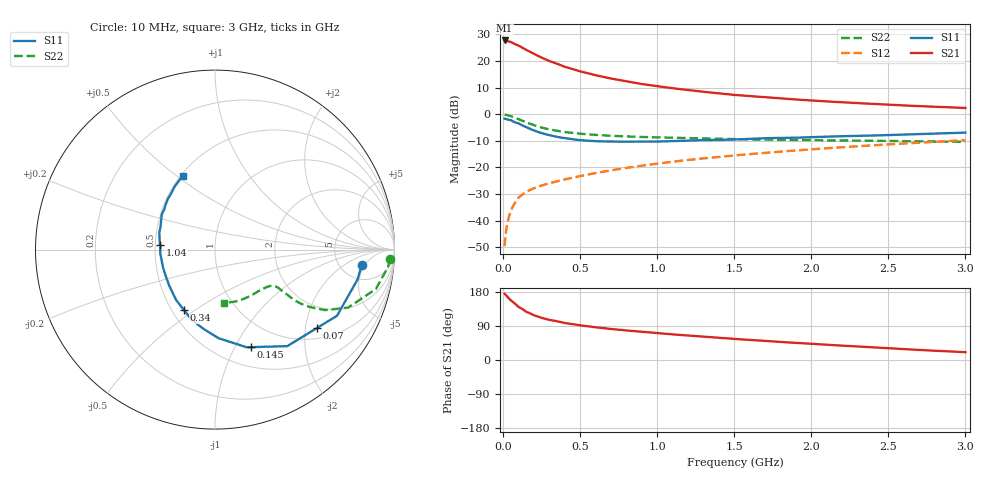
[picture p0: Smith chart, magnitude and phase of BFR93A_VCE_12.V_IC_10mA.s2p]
! Infineon Technologies  Discrete & RF Semiconductors
! BFR93A
! VCE =  12. V,  IC =  10 mA
! Common Emitter S-Parameters:  Nov 2015
# GHz  S  MA  R  50
!  f  S11  S21  S12  S22
! GHz  MAG  ANG  MAG  ANG  MAG  ANG  MAG  ANG
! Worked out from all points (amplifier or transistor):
!   180 points, 10 MHz to 3 GHz, reference 50 ohm
!   highest |S21| = 27.7 dB at 10 MHz (marker M1)
!   |S21| within 3 dB of that: start of sweep to 133.4 MHz
!   unconditionally stable (mu >= 1): 613.3 MHz to 2.645 GHz
!   at 160 MHz: K = 0.48, MSG = 26.4 dB, |S12| = -28.9 dB
!   at 1.22 GHz: K = 1.09, MAG = 11.2 dB, |S12| = -17.1 dB
!   at 3 GHz: K = 0.96, MSG = 6.1 dB, |S12| = -9.8 dB
!   S11 on the Smith chart (normalised r, x): 10 MHz: 8.02, -4.17; 70 MHz: 1.29, -2.32; 145 MHz: 0.71, -1.16; 340 MHz: 0.58, -0.46; 1.04 GHz: 0.53, +0.03; 3 GHz: 0.51, +0.53
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0.01  0.8217 -5.9  24.25 174.7  0.0033 81.4  0.9764 -3.0
0.02  0.8121 -11.7  24.01 170.3  0.0065 80.4  0.9685 -5.8
0.05  0.7733 -28.5  22.71 157.5  0.0153 75.0  0.9227 -13.8
0.07  0.717 -37.5  21.2 151.3  0.0199 70.1  0.8744 -17.4
0.1  0.6718 -53.2  19.48 140.3  0.0269 66.0  0.8093 -23.5
0.145  0.579 -69.9  16.46 128.8  0.0338 61.1  0.7107 -28.2
0.15  0.5722 -72.0  16.18 127.3  0.0346 60.7  0.7001 -28.8
0.2  0.4941 -87.7  13.56 118.1  0.0405 58.5  0.6176 -31.2
0.24  0.4491 -97.5  11.91 112.6  0.0445 57.7  0.5699 -32.1
0.26  0.4317 -102.1  11.2 110.1  0.0464 57.6  0.5496 -32.3
0.3  0.403 -110.4  9.972 105.9  0.0501 58.0  0.5158 -32.4
0.34  0.3794 -116.8  9.071 103.1  0.0538 58.5  0.4934 -32.2
0.4  0.3543 -127.8  7.772 97.6  0.0593 59.1  0.4598 -31.9
0.52  0.3209 -143.9  6.17 90.4  0.0703 60.6  0.4233 -31.3
0.7  0.3059 -161.5  4.666 81.8  0.0878 62.3  0.392 -31.4
0.9  0.3057 -176.3  3.683 74.4  0.1073 63.0  0.3719 -32.8
1.02  0.3063 176.1  3.285 70.2  0.1194 63.1  0.3644 -34.0
1.04  0.3075 175.0  3.23 69.6  0.1214 63.1  0.3631 -34.3
1.52  0.3354 153.9  2.275 55.1  0.1694 61.3  0.3386 -42.2
2.02  0.3712 137.9  1.791 42.2  0.2198 58.0  0.3239 -53.0
2.52  0.407 125.2  1.494 30.7  0.2721 53.8  0.3134 -65.5
3  0.4495 113.6  1.306 20.6  0.324 49.3  0.3022 -80.4
